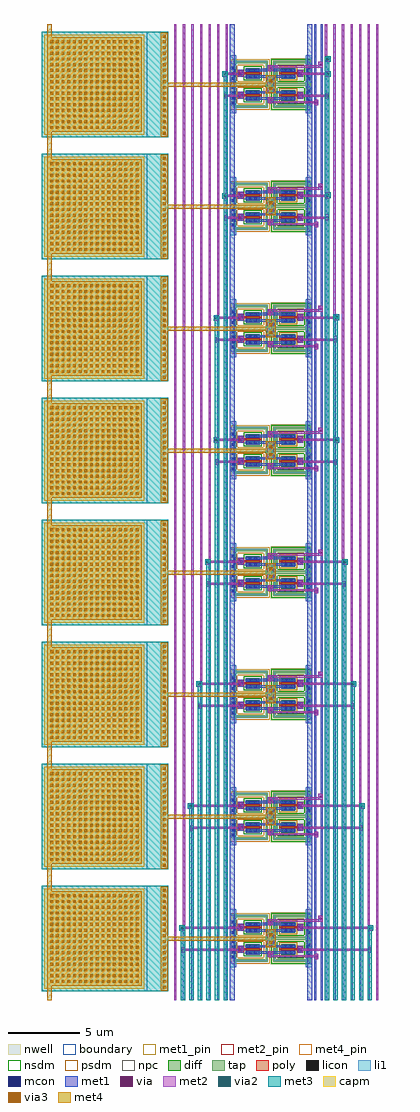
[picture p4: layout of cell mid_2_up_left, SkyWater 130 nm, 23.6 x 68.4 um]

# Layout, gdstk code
from math import pi, radians
import gdstk
lib = gdstk.Library(unit=1e-6, precision=1e-09)
def R(c, l, rs):  # rectangles x0, y0, x1, y1
    for r in rs: c.add(gdstk.rectangle(r[:2], r[2:], *l))
def A(c, l, x, y, w, h, nx, ny, dx, dy):  # array of equal rectangles
    R(c, l, [(x+i*dx, y+j*dy, x+i*dx+w, y+j*dy+h) for i in range(nx) for j in range(ny)])
nwell = (64, 20)
diff = (65, 20)
tap = (65, 44)
poly = (66, 20)
licon = (66, 44)
li1 = (67, 20)
mcon = (67, 44)
met1_pin = (68, 16)
met1 = (68, 20)
via = (68, 44)
met2_pin = (69, 16)
met2 = (69, 20)
via2 = (69, 44)
met3 = (70, 20)
via3 = (70, 44)
met4_pin = (71, 16)
met4 = (71, 20)
capm = (89, 44)
nsdm = (93, 44)
psdm = (94, 20)
npc = (95, 20)
boundary = (235, 4)

sky130_fd_pr__nfet_01v8_ = lib.new_cell('sky130_fd_pr__nfet_01v8_5WP7M2')
R(sky130_fd_pr__nfet_01v8_, diff, [(-0.365,-0.345,0.365,0.655)])
R(sky130_fd_pr__nfet_01v8_, tap, [(-0.875,-1.215,0.875,-1.045), (-0.875,-1.045,-0.705,1.045), (0.705,-1.045,0.875,1.045), (-0.875,1.045,0.875,1.215)])
R(sky130_fd_pr__nfet_01v8_, poly, [(-0.165,-0.785,0.165,-0.455), (-0.075,-0.455,0.075,0.785)])
A(sky130_fd_pr__nfet_01v8_, licon, -0.305, -0.27, 0.17, 0.17, 1, 3, 0, 0.34)
A(sky130_fd_pr__nfet_01v8_, licon, 0.135, -0.27, 0.17, 0.17, 1, 3, 0, 0.34)
R(sky130_fd_pr__nfet_01v8_, licon, [(-0.255,-1.215,-0.085,-1.045), (0.085,-1.215,0.255,-1.045), (-0.085,-0.705,0.085,-0.535)])
R(sky130_fd_pr__nfet_01v8_, li1, [(-0.475,-1.215,0.475,-1.045), (-0.165,-0.705,0.165,-0.535), (-0.305,-0.365,-0.135,0.675), (0.135,-0.365,0.305,0.675)])
R(sky130_fd_pr__nfet_01v8_, mcon, [(-0.085,-0.705,0.085,-0.535), (-0.305,-0.11,-0.135,0.06), (0.135,-0.11,0.305,0.06), (-0.305,0.25,-0.135,0.42), (0.135,0.25,0.305,0.42)])
R(sky130_fd_pr__nfet_01v8_, met1, [(-0.145,-0.735,0.145,-0.505), (-0.335,-0.345,-0.105,0.655), (0.105,-0.345,0.335,0.655)])
R(sky130_fd_pr__nfet_01v8_, nsdm, [(-0.49,-0.47,0.49,0.78)])
R(sky130_fd_pr__nfet_01v8_, psdm, [(-1,-1.34,1,-0.92), (-1,-0.92,-0.58,0.92), (0.58,-0.92,1,0.92), (-1,0.92,1,1.34)])
R(sky130_fd_pr__nfet_01v8_, npc, [(-0.185,-0.805,0.185,-0.435)])
R(sky130_fd_pr__nfet_01v8_, boundary, [(-0.79,-1.13,0.79,1.13)])

sky130_fd_pr__pfet_01v8_ = lib.new_cell('sky130_fd_pr__pfet_01v8_NKK3FE')
R(sky130_fd_pr__pfet_01v8_, nwell, [(-1.055,-1.42,1.055,1.42)])
R(sky130_fd_pr__pfet_01v8_, diff, [(-0.365,-0.68,0.365,0.32)])
R(sky130_fd_pr__pfet_01v8_, tap, [(-0.875,-1.24,0.875,-1.07), (-0.875,-1.07,-0.705,1.07), (0.705,-1.07,0.875,1.07), (-0.875,1.07,0.875,1.24)])
R(sky130_fd_pr__pfet_01v8_, poly, [(-0.075,-0.81,0.075,0.475), (-0.165,0.475,0.165,0.805)])
A(sky130_fd_pr__pfet_01v8_, licon, -0.305, -0.605, 0.17, 0.17, 1, 3, 0, 0.34)
A(sky130_fd_pr__pfet_01v8_, licon, 0.135, -0.605, 0.17, 0.17, 1, 3, 0, 0.34)
R(sky130_fd_pr__pfet_01v8_, licon, [(-0.085,0.555,0.085,0.725), (-0.255,1.07,-0.085,1.24), (0.085,1.07,0.255,1.24)])
R(sky130_fd_pr__pfet_01v8_, li1, [(-0.305,-0.7,-0.135,0.34), (0.135,-0.7,0.305,0.34), (-0.165,0.555,0.165,0.725), (-0.475,1.07,0.475,1.24)])
R(sky130_fd_pr__pfet_01v8_, mcon, [(-0.305,-0.445,-0.135,-0.275), (0.135,-0.445,0.305,-0.275), (-0.305,-0.085,-0.135,0.085), (0.135,-0.085,0.305,0.085), (-0.085,0.555,0.085,0.725)])
R(sky130_fd_pr__pfet_01v8_, met1, [(-0.335,-0.68,-0.105,0.32), (0.105,-0.68,0.335,0.32), (-0.145,0.525,0.145,0.755)])
R(sky130_fd_pr__pfet_01v8_, nsdm, [(-1,-1.365,1,-0.945), (-1,-0.945,-0.58,0.945), (0.58,-0.945,1,0.945), (-1,0.945,1,1.365)])
R(sky130_fd_pr__pfet_01v8_, psdm, [(-0.49,-0.805,0.49,0.445)])
R(sky130_fd_pr__pfet_01v8_, npc, [(-0.185,0.455,0.185,0.825)])
R(sky130_fd_pr__pfet_01v8_, boundary, [(-0.79,-1.155,0.79,1.155)])

c_sky130_fd_pr__pfet_01v8_ = lib.new_cell('sky130_fd_pr__pfet_01v8_QKK3FL')
R(c_sky130_fd_pr__pfet_01v8_, nwell, [(-1.055,-1.42,1.055,1.42)])
R(c_sky130_fd_pr__pfet_01v8_, diff, [(-0.365,-0.32,0.365,0.68)])
R(c_sky130_fd_pr__pfet_01v8_, tap, [(-0.875,-1.24,0.875,-1.07), (-0.875,-1.07,-0.705,1.07), (0.705,-1.07,0.875,1.07), (-0.875,1.07,0.875,1.24)])
R(c_sky130_fd_pr__pfet_01v8_, poly, [(-0.165,-0.805,0.165,-0.475), (-0.075,-0.475,0.075,0.81)])
A(c_sky130_fd_pr__pfet_01v8_, licon, -0.305, -0.245, 0.17, 0.17, 1, 3, 0, 0.34)
A(c_sky130_fd_pr__pfet_01v8_, licon, 0.135, -0.245, 0.17, 0.17, 1, 3, 0, 0.34)
R(c_sky130_fd_pr__pfet_01v8_, licon, [(-0.255,-1.24,-0.085,-1.07), (0.085,-1.24,0.255,-1.07), (-0.085,-0.725,0.085,-0.555)])
R(c_sky130_fd_pr__pfet_01v8_, li1, [(-0.475,-1.24,0.475,-1.07), (-0.165,-0.725,0.165,-0.555), (-0.305,-0.34,-0.135,0.7), (0.135,-0.34,0.305,0.7)])
R(c_sky130_fd_pr__pfet_01v8_, mcon, [(-0.085,-0.725,0.085,-0.555), (-0.305,-0.085,-0.135,0.085), (0.135,-0.085,0.305,0.085), (-0.305,0.275,-0.135,0.445), (0.135,0.275,0.305,0.445)])
R(c_sky130_fd_pr__pfet_01v8_, met1, [(-0.145,-0.755,0.145,-0.525), (-0.335,-0.32,-0.105,0.68), (0.105,-0.32,0.335,0.68)])
R(c_sky130_fd_pr__pfet_01v8_, nsdm, [(-1,-1.365,1,-0.945), (-1,-0.945,-0.58,0.945), (0.58,-0.945,1,0.945), (-1,0.945,1,1.365)])
R(c_sky130_fd_pr__pfet_01v8_, psdm, [(-0.49,-0.445,0.49,0.805)])
R(c_sky130_fd_pr__pfet_01v8_, npc, [(-0.185,-0.825,0.185,-0.455)])
R(c_sky130_fd_pr__pfet_01v8_, boundary, [(-0.79,-1.155,0.79,1.155)])

c_sky130_fd_pr__nfet_01v8_ = lib.new_cell('sky130_fd_pr__nfet_01v8_5WU4M2')
R(c_sky130_fd_pr__nfet_01v8_, diff, [(-0.365,-0.655,0.365,0.345)])
R(c_sky130_fd_pr__nfet_01v8_, tap, [(-0.875,-1.215,0.875,-1.045), (-0.875,-1.045,-0.705,1.045), (0.705,-1.045,0.875,1.045), (-0.875,1.045,0.875,1.215)])
R(c_sky130_fd_pr__nfet_01v8_, poly, [(-0.075,-0.785,0.075,0.455), (-0.165,0.455,0.165,0.785)])
A(c_sky130_fd_pr__nfet_01v8_, licon, -0.305, -0.58, 0.17, 0.17, 1, 3, 0, 0.34)
A(c_sky130_fd_pr__nfet_01v8_, licon, 0.135, -0.58, 0.17, 0.17, 1, 3, 0, 0.34)
R(c_sky130_fd_pr__nfet_01v8_, licon, [(-0.085,0.535,0.085,0.705), (-0.255,1.045,-0.085,1.215), (0.085,1.045,0.255,1.215)])
R(c_sky130_fd_pr__nfet_01v8_, li1, [(-0.305,-0.675,-0.135,0.365), (0.135,-0.675,0.305,0.365), (-0.165,0.535,0.165,0.705), (-0.475,1.045,0.475,1.215)])
R(c_sky130_fd_pr__nfet_01v8_, mcon, [(-0.305,-0.42,-0.135,-0.25), (0.135,-0.42,0.305,-0.25), (-0.305,-0.06,-0.135,0.11), (0.135,-0.06,0.305,0.11), (-0.085,0.535,0.085,0.705)])
R(c_sky130_fd_pr__nfet_01v8_, met1, [(-0.335,-0.655,-0.105,0.345), (0.105,-0.655,0.335,0.345), (-0.145,0.505,0.145,0.735)])
R(c_sky130_fd_pr__nfet_01v8_, nsdm, [(-0.49,-0.78,0.49,0.47)])
R(c_sky130_fd_pr__nfet_01v8_, psdm, [(-1,-1.34,1,-0.92), (-1,-0.92,-0.58,0.92), (0.58,-0.92,1,0.92), (-1,0.92,1,1.34)])
R(c_sky130_fd_pr__nfet_01v8_, npc, [(-0.185,0.435,0.185,0.805)])
R(c_sky130_fd_pr__nfet_01v8_, boundary, [(-0.79,-1.13,0.79,1.13)])

sky130_fd_pr__cap_mim_m3 = lib.new_cell('sky130_fd_pr__cap_mim_m3_1_BZXSER')
R(sky130_fd_pr__cap_mim_m3, met3, [(-4.43,-3.7,4.43,3.7)])
A(sky130_fd_pr__cap_mim_m3, via3, 4.07, -3.5, 0.2, 0.2, 1, 18, 0, 0.4)
A(sky130_fd_pr__cap_mim_m3, via3, -3.83, -3.1, 0.2, 0.2, 16, 16, 0.4, 0.4)
R(sky130_fd_pr__cap_mim_m3, met4, [(3.93,-3.64,4.41,3.64), (-4.035,-3.305,2.575,3.305)])
R(sky130_fd_pr__cap_mim_m3, capm, [(-4.23,-3.5,2.77,3.5)])
R(sky130_fd_pr__cap_mim_m3, boundary, [(-4.43,-3.7,2.97,3.7)])

cap_final = lib.new_cell('cap_final')
R(cap_final, li1, [(3.55,-4.75,7.6,-4.3), (3.55,0.55,7.6,1)])
A(cap_final, mcon, 4.355, -4.635, 0.17, 0.17, 3, 2, 0.36, 5.35)
A(cap_final, mcon, 5.725, -4.635, 0.17, 0.17, 4, 1, 0.36, 0)
A(cap_final, mcon, 5.955, 0.715, 0.17, 0.17, 3, 1, 0.36, 0)
R(cap_final, met1_pin, [(3.85,-4.7,4.15,-4.4), (5.4,-4.7,5.7,-4.4), (4.31,-2.04,4.61,-1.74), (6.56,-2.04,6.86,-1.74), (4.64,0.04,4.94,0.34), (6.17,0.06,6.47,0.36), (3.85,0.65,4.15,0.95), (5.5,0.65,5.75,0.95)])
R(cap_final, met1, [(1.35,-5.05,5.5,-4.9), (5.65,-5.05,9.9,-4.9), (1.35,-4.75,9.9,-4.4), (4.55,-4.2,5.05,-3.8), (6.1,-4.2,6.6,-3.8), (4.5,-2.7,4.65,-2.1), (4.95,-2.7,5.1,-2.1), (6.05,-2.7,6.2,-2.1), (6.5,-2.7,6.65,-2.1), (4.25,-2.1,4.65,-1.7), (4.95,-2.1,6.2,-1.7), (6.5,-2.1,6.9,-1.7), (4.5,-1.7,4.65,-1.1), (4.95,-1.7,5.1,-1.1), (6.05,-1.7,6.2,-1.1), (6.5,-1.7,6.65,-1.1), (4.55,0,5.05,0.4), (6.1,0,6.6,0.4), (1.35,0.65,9.9,1), (1.35,1.15,9.9,1.3), (6.65,1.3,7.05,1.45), (4,1.45,4.4,1.6), (1.35,1.6,9.9,1.75), (1.35,1.9,9.9,2.05)])
R(cap_final, via, [(4.725,-4.075,4.875,-3.925), (6.275,-4.075,6.425,-3.925), (4.375,-1.975,4.525,-1.825), (5.225,-1.975,5.375,-1.825), (5.775,-1.975,5.925,-1.825), (6.625,-1.975,6.775,-1.825), (4.725,0.125,4.875,0.275), (6.275,0.125,6.425,0.275), (6.775,1.225,6.925,1.375), (4.125,1.525,4.275,1.675)])
R(cap_final, met2_pin, [(4.65,-4.15,4.95,-3.85), (6.2,-4.15,6.5,-3.85)])
R(cap_final, met2, [(4.75,-4.85,4.9,-4.2), (6.3,-4.85,6.45,-4.2), (4.6,-4.2,5,-3.8), (6.15,-4.2,6.55,-3.8), (5.05,-2.15,6.1,-1.65), (4.25,-2.1,4.65,-1.7), (6.5,-2.1,6.9,-1.7), (4.25,-1.7,4.4,1.45), (6.75,-1.7,6.9,1.15), (4.6,0,5,0.4), (6.15,0,6.55,0.4), (4.75,0.4,4.9,1.85), (6.3,0.4,6.45,1.85), (6.65,1.15,7.05,1.45), (4,1.45,4.4,1.75)])
R(cap_final, via2, [(5.225,-1.975,5.425,-1.775), (5.775,-1.975,5.975,-1.775)])
R(cap_final, met3, [(4.95,-2.25,6.2,-1.55)])
R(cap_final, via3, [(5.225,-2,5.425,-1.8), (5.775,-2,5.975,-1.8)])
R(cap_final, met4_pin, [(2.45,-17.35,2.75,-17.05)])
R(cap_final, met4, [(2.4,-17.4,2.75,-17.05), (5.45,-9.5,5.75,-2.25), (4.95,-2.25,6.2,-1.55)])
cap_final.add(gdstk.Reference(sky130_fd_pr__nfet_01v8_, (4.805,-3.305)))
cap_final.add(gdstk.Reference(sky130_fd_pr__pfet_01v8_, (4.805,-0.48)))
cap_final.add(gdstk.Reference(c_sky130_fd_pr__pfet_01v8_, (6.355,-0.48), rotation=pi))
cap_final.add(gdstk.Reference(c_sky130_fd_pr__nfet_01v8_, (6.355,-3.305), rotation=pi))
cap_final.add(gdstk.Reference(sky130_fd_pr__cap_mim_m3, (5.6,-13.52), rotation=pi/2, x_reflection=True))
cap_final.add(gdstk.Label('com_x', (2.6,-17.2), layer=71, texttype=5))
cap_final.add(gdstk.Label('sub', (5.55,-4.55), layer=68, texttype=5))
cap_final.add(gdstk.Label('phi1', (4.8,-4), layer=69, texttype=5))
cap_final.add(gdstk.Label('Vdd', (4,0.8), layer=68, texttype=5))
cap_final.add(gdstk.Label('phi1_n', (4.79,0.19), layer=68, texttype=5))
cap_final.add(gdstk.Label('Vin', (4.46,-1.89), layer=68, texttype=5))
cap_final.add(gdstk.Label('sub', (4,-4.55), layer=68, texttype=5))
cap_final.add(gdstk.Label('Vdd', (5.625,0.8), layer=68, texttype=5))
cap_final.add(gdstk.Label('phi2', (6.35,-4), layer=69, texttype=5))
cap_final.add(gdstk.Label('GND', (6.71,-1.89), layer=68, texttype=5))
cap_final.add(gdstk.Label('phi2_n', (6.32,0.21), layer=68, texttype=5))

c_8_cap_array_final = lib.new_cell('8_cap_array_final')
A(c_8_cap_array_final, met1, -0.65, 8.15, 68.4, 0.15, 1, 6, 0, 0.6)
A(c_8_cap_array_final, met1, -0.65, 19.3, 68.4, 0.15, 1, 6, 0, 0.6)
R(c_8_cap_array_final, met1, [(-0.05,11.75,7.05,11.9), (8.75,11.75,14.85,11.9), (18.5,11.75,23.9,11.9), (26.95,11.75,32.35,11.9), (35.4,11.75,41.05,11.9), (44.1,11.75,49.65,11.9), (52.7,11.75,58.35,11.9), (61.4,11.75,66.15,11.9), (-0.05,12.05,7.05,12.4), (8.75,12.05,14.85,12.4), (18.5,12.05,23.9,12.4), (26.95,12.05,32.35,12.4), (35.4,12.05,41.05,12.4), (44.1,12.05,49.65,12.4), (52.7,12.05,58.35,12.4), (61.4,12.05,66.15,12.4), (-0.05,17.45,7.05,17.8), (8.75,17.45,14.85,17.8), (18.5,17.45,23.9,17.8), (26.95,17.45,32.35,17.8), (35.4,17.45,41.05,17.8), (44.1,17.45,49.65,17.8), (52.7,17.45,58.35,17.8), (61.4,17.45,66.15,17.8), (-0.05,17.95,7.05,18.1), (8.75,17.95,14.85,18.1), (18.5,17.95,23.9,18.1), (26.95,17.95,32.35,18.1), (35.4,17.95,41.05,18.1), (44.1,17.95,49.65,18.1), (52.7,17.95,58.35,18.1), (61.4,17.95,66.15,18.1), (-0.05,18.4,7.05,18.55), (8.75,18.4,14.85,18.55), (18.5,18.4,23.9,18.55), (26.95,18.4,32.35,18.55), (35.4,18.4,41.05,18.55), (44.1,18.4,49.65,18.55), (52.7,18.4,58.35,18.55), (61.4,18.4,66.15,18.55), (-0.05,18.7,7.05,18.85), (8.75,18.7,14.85,18.85), (18.5,18.7,23.9,18.85), (26.95,18.7,32.35,18.85), (35.4,18.7,41.05,18.85), (44.1,18.7,49.65,18.85), (52.7,18.7,58.35,18.85), (61.4,18.7,66.15,18.85)])
R(c_8_cap_array_final, met4, [(-0.65,-0.75,67.75,-0.45)])
c_8_cap_array_final.add(gdstk.Reference(cap_final, (49.3,16.8)))
c_8_cap_array_final.add(gdstk.Reference(cap_final, (40.75,16.8)))
c_8_cap_array_final.add(gdstk.Reference(cap_final, (32.2,16.8)))
c_8_cap_array_final.add(gdstk.Reference(cap_final, (23.65,16.8)))
c_8_cap_array_final.add(gdstk.Reference(cap_final, (15.1,16.8)))
c_8_cap_array_final.add(gdstk.Reference(cap_final, (6.55,16.8)))
c_8_cap_array_final.add(gdstk.Reference(cap_final, (57.85,16.8)))
c_8_cap_array_final.add(gdstk.Reference(cap_final, (-2,16.8)))

mid_2_up_left = lib.new_cell('mid_2_up_left')
R(mid_2_up_left, met1, [(8.2,-0.6,8.35,67.8), (22.35,-0.6,22.5,-0.2), (8.8,1.7,8.95,2.7), (8.65,2.7,8.95,3.1), (21.75,2.7,22.05,3.1), (8.8,3.1,8.95,3.55), (21.75,3.1,21.9,5.7), (8.8,3.85,8.95,5.7), (9.4,10.25,9.55,11.25), (9.25,11.25,9.55,11.65), (21.15,11.25,21.45,11.65), (9.4,11.65,9.55,12.1), (21.15,11.65,21.3,14.25), (9.4,12.4,9.55,14.25), (10,18.8,10.15,19.8), (9.85,19.8,10.15,20.2), (20.55,19.8,20.85,20.2), (10,20.2,10.15,20.65), (20.55,20.2,20.7,22.8), (10,20.95,10.15,22.8), (8.8,22.85,8.95,67.8), (10.6,27.35,10.75,28.35), (10.45,28.35,10.75,28.75), (19.95,28.35,20.25,28.75), (10.6,28.75,10.75,29.2), (19.95,28.75,20.1,31.35), (10.6,29.5,10.75,31.35), (9.4,31.35,9.55,67.8), (10,31.35,10.15,67.8), (11.2,35.9,11.35,36.9), (11.05,36.9,11.35,37.3), (19.35,36.9,19.65,37.3), (11.2,37.3,11.35,37.75), (19.35,37.3,19.5,38.85), (11.2,38.05,11.35,45.45), (11.05,45.45,11.35,45.85), (19.35,45.5,19.65,45.9), (11.2,45.85,11.35,46.3), (19.35,45.9,19.5,48.5), (11.2,46.6,11.35,50.7), (10.6,48.5,10.75,67.8), (11.8,53,11.95,54), (11.65,54,11.95,54.4), (18.75,54.05,19.05,54.45), (11.8,54.4,11.95,54.85), (18.75,54.45,18.9,56), (11.8,55.15,11.95,55.95), (11.65,62.55,11.95,62.95), (18.75,62.55,19.05,62.95), (18.75,62.95,18.9,64.5), (11.8,64.5,11.95,65.55)])
R(mid_2_up_left, via, [(8.725,2.825,8.875,2.975), (21.825,2.825,21.975,2.975), (9.325,11.375,9.475,11.525), (21.225,11.375,21.375,11.525), (9.925,19.925,10.075,20.075), (20.625,19.925,20.775,20.075), (10.525,28.475,10.675,28.625), (20.025,28.475,20.175,28.625), (11.125,37.025,11.275,37.175), (19.425,37.025,19.575,37.175), (11.125,45.575,11.275,45.725), (19.425,45.625,19.575,45.775), (11.725,54.125,11.875,54.275), (18.825,54.175,18.975,54.325), (11.725,62.675,11.875,62.825), (18.825,62.675,18.975,62.825)])
R(mid_2_up_left, met2, [(8.2,-0.6,8.35,67.8), (22.35,-0.6,22.5,67.8), (8.65,2.7,8.95,2.85), (21.75,2.7,22.05,2.85), (8.65,2.85,12,3), (18.7,2.85,22.05,3), (8.65,3,8.95,3.1), (21.75,3,22.05,3.1), (8.55,4.25,8.95,4.4), (21.75,4.25,22.15,4.4), (8.55,4.4,12,4.55), (18.7,4.4,22.15,4.55), (8.55,4.55,8.95,4.65), (21.75,4.55,22.15,4.65), (8.8,4.65,8.95,67.8), (21.75,4.65,21.9,67.8), (9.25,11.25,9.55,11.4), (21.15,11.25,21.45,11.4), (9.25,11.4,12,11.55), (18.7,11.4,21.45,11.55), (9.25,11.55,9.55,11.65), (21.15,11.55,21.45,11.65), (9.15,12.8,9.55,12.95), (21.15,12.8,21.55,12.95), (9.15,12.95,12,13.1), (18.7,12.95,21.55,13.1), (9.15,13.1,9.55,13.2), (21.15,13.1,21.55,13.2), (9.4,13.2,9.55,67.8), (21.15,13.2,21.3,67.8), (9.85,19.8,10.15,19.95), (20.55,19.8,20.85,19.95), (9.85,19.95,12,20.1), (18.7,19.95,20.85,20.1), (9.85,20.1,10.15,20.2), (20.55,20.1,20.85,20.2), (9.75,21.35,10.15,21.5), (20.55,21.35,20.95,21.5), (9.75,21.5,12,21.65), (18.7,21.5,20.95,21.65), (9.75,21.65,10.15,21.75), (20.55,21.65,20.95,21.75), (10,21.75,10.15,67.8), (20.55,21.75,20.7,67.8), (10.45,28.35,10.75,28.5), (19.95,28.35,20.25,28.5), (10.45,28.5,12,28.65), (18.7,28.5,20.25,28.65), (10.45,28.65,10.75,28.75), (19.95,28.65,20.25,28.75), (10.35,29.9,10.75,30.05), (19.95,29.9,20.35,30.05), (10.35,30.05,12,30.2), (18.7,30.05,20.35,30.2), (10.35,30.2,10.75,30.3), (19.95,30.2,20.35,30.3), (10.6,30.3,10.75,67.8), (19.95,30.3,20.1,67.8), (11.05,36.9,11.35,37.05), (19.35,36.9,19.65,37.05), (11.05,37.05,12,37.2), (18.7,37.05,19.65,37.2), (11.05,37.2,11.35,37.3), (19.35,37.2,19.65,37.3), (10.95,38.45,11.35,38.6), (19.35,38.45,19.75,38.6), (10.95,38.6,12,38.75), (18.7,38.6,19.75,38.75), (10.95,38.75,11.35,38.85), (19.35,38.75,19.75,38.85), (11.05,45.45,11.35,45.6), (19.35,45.5,19.65,45.6), (11.05,45.6,12,45.75), (18.7,45.6,19.65,45.75), (11.05,45.75,11.35,45.85), (19.35,45.75,19.65,45.9), (10.95,47,11.35,47.15), (19.35,47.05,19.75,47.15), (10.95,47.15,12,47.3), (18.65,47.15,19.75,47.3), (10.95,47.3,11.35,47.4), (19.35,47.3,19.75,47.45), (11.2,47.4,11.35,67.8), (19.35,47.45,19.5,67.8), (11.65,54,11.95,54.15), (18.75,54.05,19.05,54.15), (11.65,54.15,12,54.3), (18.7,54.15,19.05,54.3), (11.65,54.3,11.95,54.4), (18.75,54.3,19.05,54.45), (11.55,55.55,11.95,55.7), (18.75,55.6,19.15,55.7), (11.55,55.7,12,55.85), (18.7,55.7,19.15,55.85), (11.55,55.85,11.95,55.95), (18.75,55.85,19.15,56), (11.65,62.55,11.95,62.7), (18.75,62.55,19.05,62.7), (11.65,62.7,12,62.85), (18.6,62.7,19.05,62.85), (11.65,62.85,11.95,62.95), (18.75,62.85,19.05,62.95), (11.55,64.1,11.95,64.25), (18.75,64.1,19.15,64.25), (11.55,64.25,12,64.4), (18.7,64.25,19.15,64.4), (11.55,64.4,11.95,64.5), (18.75,64.4,19.15,64.5), (11.8,64.5,11.95,67.8), (18.75,65.15,19.15,65.55), (18.75,65.55,18.9,67.8)])
R(mid_2_up_left, via2, [(8.65,4.35,8.85,4.55), (21.85,4.35,22.05,4.55), (9.25,12.9,9.45,13.1), (21.25,12.9,21.45,13.1), (9.85,21.45,10.05,21.65), (20.65,21.45,20.85,21.65), (10.45,30,10.65,30.2), (20.05,30,20.25,30.2), (11.05,38.55,11.25,38.75), (19.45,38.55,19.65,38.75), (11.05,47.1,11.25,47.3), (19.45,47.15,19.65,47.35), (11.65,55.65,11.85,55.85), (18.85,55.7,19.05,55.9), (11.65,64.2,11.85,64.4), (18.85,64.2,19.05,64.4), (18.85,65.25,19.05,65.45)])
R(mid_2_up_left, met3, [(8.65,-0.6,8.95,4.25), (9.25,-0.6,9.55,12.8), (9.85,-0.6,10.15,21.35), (10.45,-0.6,10.75,29.9), (11.05,-0.6,11.35,38.45), (11.65,-0.6,11.95,55.55), (18.75,-0.6,19.05,55.6), (19.35,-0.6,19.65,38.45), (19.95,-0.6,20.25,29.9), (20.55,-0.6,20.85,21.35), (21.15,-0.6,21.45,12.8), (21.75,-0.6,22.05,4.25), (8.55,4.25,8.95,4.65), (21.75,4.25,22.15,4.65), (9.15,12.8,9.55,13.2), (21.15,12.8,21.55,13.2), (9.75,21.35,10.15,21.75), (20.55,21.35,20.95,21.75), (10.35,29.9,10.75,30.3), (19.95,29.9,20.35,30.3), (10.95,38.45,11.35,38.85), (19.35,38.45,19.75,38.85), (11.05,38.85,11.35,47), (19.35,38.85,19.65,47.05), (10.95,47,11.35,47.4), (19.35,47.05,19.75,47.45), (11.55,55.55,11.95,55.95), (18.75,55.6,19.15,56), (11.65,55.95,11.95,64.1), (18.75,56,19.05,64.1), (11.55,64.1,11.95,64.5), (18.75,64.1,19.15,64.5), (18.75,64.5,19.05,65.15), (18.75,65.15,19.15,65.55)])
mid_2_up_left.add(gdstk.Reference(c_8_cap_array_final, (0.05,67.15), rotation=3*pi/2))

lib.write_gds('mid_2_up_left.gds')
